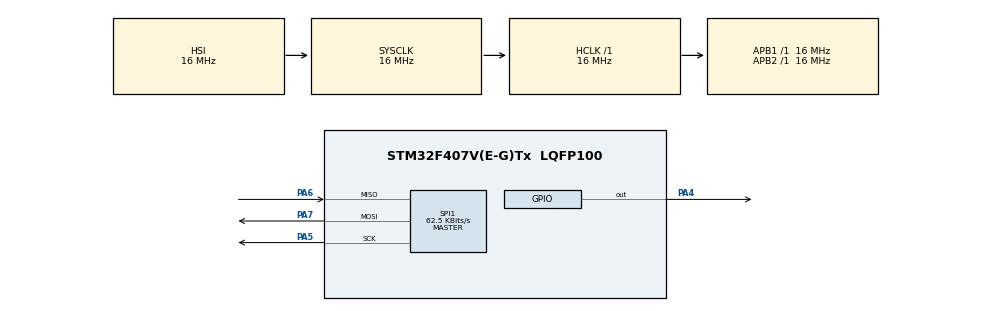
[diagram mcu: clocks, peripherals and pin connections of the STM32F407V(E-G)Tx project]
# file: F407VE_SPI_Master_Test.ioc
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Mcu.Family=STM32F4
Mcu.Name=STM32F407V(E-G)Tx
Mcu.Package=LQFP100
NVIC.PriorityGroup=NVIC_PRIORITYGROUP_4
PA13.Mode=Trace_Asynchronous_SW
PA13.Signal=SYS_JTMS-SWDIO
PA14.Mode=Trace_Asynchronous_SW
PA14.Signal=SYS_JTCK-SWCLK
PA4.Signal=GPIO_Output
PA5.Mode=Full_Duplex_Master
PA5.Signal=SPI1_SCK
PA6.Mode=Full_Duplex_Master
PA6.Signal=SPI1_MISO
PA7.Mode=Full_Duplex_Master
PA7.Signal=SPI1_MOSI
PB3.Mode=Trace_Asynchronous_SW
PB3.Signal=SYS_JTDO-SWO
PH0-OSC_IN.Mode=HSE-External-Oscillator
PH0-OSC_IN.Signal=RCC_OSC_IN
PH1-OSC_OUT.Mode=HSE-External-Oscillator
PH1-OSC_OUT.Signal=RCC_OSC_OUT
ProjectManager.HeapSize=0x200
ProjectManager.StackSize=0x400
ProjectManager.TargetToolchain=STM32CubeIDE
RCC.AHBFreq_Value=16000000
RCC.APB1Freq_Value=16000000
RCC.APB2Freq_Value=16000000
RCC.CortexFreq_Value=16000000
RCC.HSE_VALUE=25000000
RCC.HSI_VALUE=16000000
RCC.LSE_VALUE=32768
RCC.SYSCLKFreq_VALUE=16000000
RCC.VCOOutputFreq_Value=192000000
SPI1.BaudRatePrescaler=SPI_BAUDRATEPRESCALER_256
SPI1.CalculateBaudRate=62.5 KBits/s
SPI1.Direction=SPI_DIRECTION_2LINES
SPI1.Mode=SPI_MODE_MASTER
SPI1.VirtualType=VM_MASTER
board=custom

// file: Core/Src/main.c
/* USER CODE BEGIN Header */
/**
  ******************************************************************************
  * @file           : main.c
  * @brief          : Main program body
  ******************************************************************************
  * @attention
  *
  * <h2><center>&copy; Copyright (c) 2020 STMicroelectronics.
  * All rights reserved.</center></h2>
  *
  * This software component is licensed by ST under BSD 3-Clause license,
  * the "License"; You may not use this file except in compliance with the
  * License. You may obtain a copy of the License at:
  *                        opensource.org/licenses/BSD-3-Clause
  *
  ******************************************************************************
  */
/* USER CODE END Header */

#include "main.h"

/* USER CODE BEGIN Includes */
#include <stdio.h>
/* USER CODE END Includes */

SPI_HandleTypeDef hspi1;

void SystemClock_Config(void);
static void MX_GPIO_Init(void);
static void MX_SPI1_Init(void);

int main(void)
{

  /* MCU Configuration--------------------------------------------------------*/

  /* Reset of all peripherals, Initializes the Flash interface and the Systick. */
  HAL_Init();

  /* Configure the system clock */
  SystemClock_Config();

  /* Initialize all configured peripherals */
  MX_GPIO_Init();
  MX_SPI1_Init();

  /* Infinite loop */
  /* USER CODE BEGIN WHILE */
  while (1)
  {
//	  uint8_t tx_buff[10] = {1, 2, 3, 4, 5, 6, 7, 8, 9, 0};
	  uint8_t tx_buff[10] = {49, 50, 51, 52, 53, 54, 55, 56, 57, 48};
	  uint8_t rx_buff[10];

	  for(uint8_t i = 0; i < 10; i++)
	  {
		  HAL_GPIO_WritePin(GPIOA, GPIO_PIN_4, GPIO_PIN_RESET);
		  HAL_SPI_TransmitReceive(&hspi1, &tx_buff[i], &rx_buff[i], 1, 1000);
		  HAL_GPIO_WritePin(GPIOA, GPIO_PIN_4, GPIO_PIN_SET);

		  printf("%d ", rx_buff[i]);

		  HAL_Delay(1);
	  }
	  printf("\r\n");

	  HAL_Delay(1000);
    /* USER CODE END WHILE */

  }
}

void SystemClock_Config(void)
{
  RCC_OscInitTypeDef RCC_OscInitStruct = {0};
  RCC_ClkInitTypeDef RCC_ClkInitStruct = {0};

  /** Configure the main internal regulator output voltage
  */
  __HAL_RCC_PWR_CLK_ENABLE();
  __HAL_PWR_VOLTAGESCALING_CONFIG(PWR_REGULATOR_VOLTAGE_SCALE1);
  /** Initializes the CPU, AHB and APB busses clocks
  */
  RCC_OscInitStruct.OscillatorType = RCC_OSCILLATORTYPE_HSI;
  RCC_OscInitStruct.HSIState = RCC_HSI_ON;
  RCC_OscInitStruct.HSICalibrationValue = RCC_HSICALIBRATION_DEFAULT;
  RCC_OscInitStruct.PLL.PLLState = RCC_PLL_NONE;
  if (HAL_RCC_OscConfig(&RCC_OscInitStruct) != HAL_OK)
  {
    Error_Handler();
  }
  /** Initializes the CPU, AHB and APB busses clocks
  */
  RCC_ClkInitStruct.ClockType = RCC_CLOCKTYPE_HCLK|RCC_CLOCKTYPE_SYSCLK
                              |RCC_CLOCKTYPE_PCLK1|RCC_CLOCKTYPE_PCLK2;
  RCC_ClkInitStruct.SYSCLKSource = RCC_SYSCLKSOURCE_HSI;
  RCC_ClkInitStruct.AHBCLKDivider = RCC_SYSCLK_DIV1;
  RCC_ClkInitStruct.APB1CLKDivider = RCC_HCLK_DIV1;
  RCC_ClkInitStruct.APB2CLKDivider = RCC_HCLK_DIV1;

  if (HAL_RCC_ClockConfig(&RCC_ClkInitStruct, FLASH_LATENCY_0) != HAL_OK)
  {
    Error_Handler();
  }
}

static void MX_SPI1_Init(void)
{

  /* SPI1 parameter configuration*/
  hspi1.Instance = SPI1;
  hspi1.Init.Mode = SPI_MODE_MASTER;
  hspi1.Init.Direction = SPI_DIRECTION_2LINES;
  hspi1.Init.DataSize = SPI_DATASIZE_8BIT;
  hspi1.Init.CLKPolarity = SPI_POLARITY_LOW;
  hspi1.Init.CLKPhase = SPI_PHASE_1EDGE;
  hspi1.Init.NSS = SPI_NSS_SOFT;
  hspi1.Init.BaudRatePrescaler = SPI_BAUDRATEPRESCALER_256;
  hspi1.Init.FirstBit = SPI_FIRSTBIT_MSB;
  hspi1.Init.TIMode = SPI_TIMODE_DISABLE;
  hspi1.Init.CRCCalculation = SPI_CRCCALCULATION_DISABLE;
  hspi1.Init.CRCPolynomial = 10;
  if (HAL_SPI_Init(&hspi1) != HAL_OK)
  {
    Error_Handler();
  }

}

static void MX_GPIO_Init(void)
{
  GPIO_InitTypeDef GPIO_InitStruct = {0};

  /* GPIO Ports Clock Enable */
  __HAL_RCC_GPIOH_CLK_ENABLE();
  __HAL_RCC_GPIOA_CLK_ENABLE();
  __HAL_RCC_GPIOB_CLK_ENABLE();

  /*Configure GPIO pin Output Level */
  HAL_GPIO_WritePin(GPIOA, GPIO_PIN_4, GPIO_PIN_RESET);

  /*Configure GPIO pin : PA4 */
  GPIO_InitStruct.Pin = GPIO_PIN_4;
  GPIO_InitStruct.Mode = GPIO_MODE_OUTPUT_PP;
  GPIO_InitStruct.Pull = GPIO_NOPULL;
  GPIO_InitStruct.Speed = GPIO_SPEED_FREQ_LOW;
  HAL_GPIO_Init(GPIOA, &GPIO_InitStruct);

}

/* USER CODE BEGIN 4 */
int _write(int file, char *ptr, int len)
{
  /* Implement your write code here, this is used by puts and printf for example */
  int i=0;
  for(i=0 ; i<len ; i++)
    ITM_SendChar((*ptr++));
  return len;
}
/* USER CODE END 4 */

void Error_Handler(void)
{
}

/************************ (C) COPYRIGHT STMicroelectronics *****END OF FILE****/
